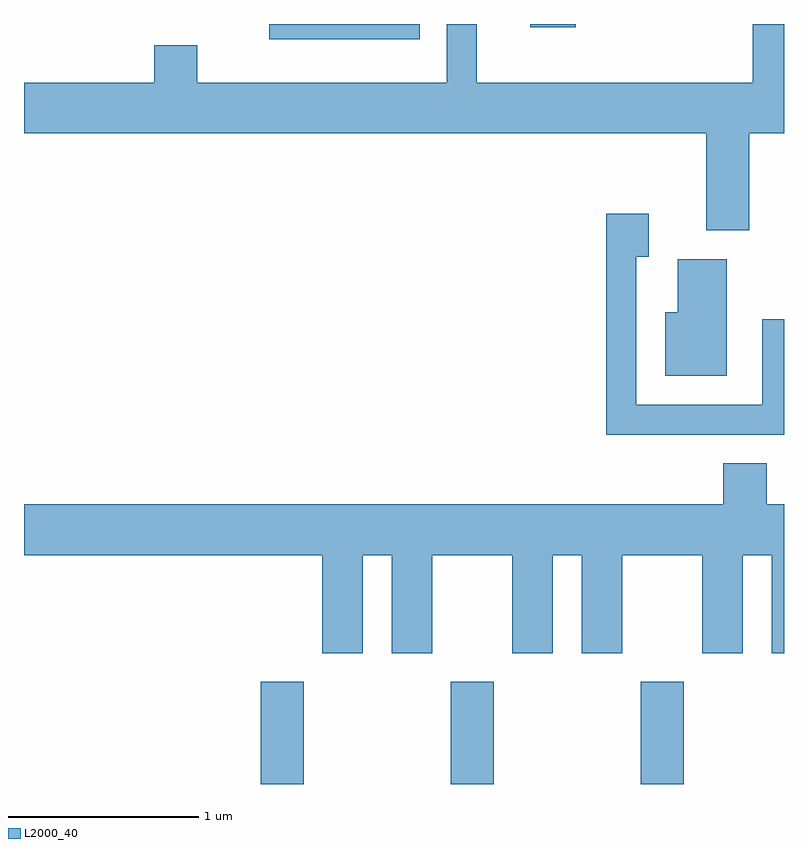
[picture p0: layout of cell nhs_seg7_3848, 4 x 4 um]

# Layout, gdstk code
import gdstk
lib = gdstk.Library(unit=1e-6, precision=1e-09)
def R(c, l, rs):  # rectangles x0, y0, x1, y1
    for r in rs: c.add(gdstk.rectangle(r[:2], r[2:], *l))
def A(c, l, x, y, w, h, nx, ny, dx, dy):  # array of equal rectangles
    R(c, l, [(x+i*dx, y+j*dy, x+i*dx+w, y+j*dy+h) for i in range(nx) for j in range(ny)])
def P(c, l, *ps):  # polygons
    for p in ps: c.add(gdstk.Polygon(p, *l))
L2000_40 = (2000, 40)

nhs_seg7_3848 = lib.new_cell('nhs_seg7_3848')
A(nhs_seg7_3848, L2000_40, 304.856, 1684.252, 0.228, 0.537, 3, 1, 1, 0)
R(nhs_seg7_3848, L2000_40, [(304.901,1688.171,305.693,1688.252), (306.276,1688.236,306.514,1688.252)])
P(nhs_seg7_3848, L2000_40, [(307.429,1687.676),(307.611,1687.676),(307.611,1688.252),(307.446,1688.252),(307.446,1687.944),(305.994,1687.944),(305.994,1688.252),(305.836,1688.252),(305.836,1687.944),(304.524,1687.944),(304.524,1688.139),(304.296,1688.139),(304.296,1687.944),(303.611,1687.944),(303.611,1687.676),(307.201,1687.676),(307.201,1687.166),(307.429,1687.166)],
  [(307.611,1686.698),(307.496,1686.698),(307.496,1686.249),(306.834,1686.249),(306.834,1687.026),(306.899,1687.026),(306.899,1687.254),(306.676,1687.254),(306.676,1686.091),(307.611,1686.091)],
  [(307.309,1687.014),(307.051,1687.014),(307.051,1686.734),(306.986,1686.734),(306.986,1686.401),(307.309,1686.401)],
  [(305.394,1685.456),(305.546,1685.456),(305.546,1684.941),(305.759,1684.941),(305.759,1685.456),(306.181,1685.456),(306.181,1684.941),(306.394,1684.941),(306.394,1685.456),(306.546,1685.456),(306.546,1684.941),(306.759,1684.941),(306.759,1685.456),(307.181,1685.456),(307.181,1684.941),(307.394,1684.941),(307.394,1685.456),(307.546,1685.456),(307.546,1684.941),(307.611,1684.941),(307.611,1685.724),(307.519,1685.724),(307.519,1685.939),(307.291,1685.939),(307.291,1685.724),(303.611,1685.724),(303.611,1685.456),(305.181,1685.456),(305.181,1684.941),(305.394,1684.941)])

lib.write_gds('nhs_seg7_3848.gds')
